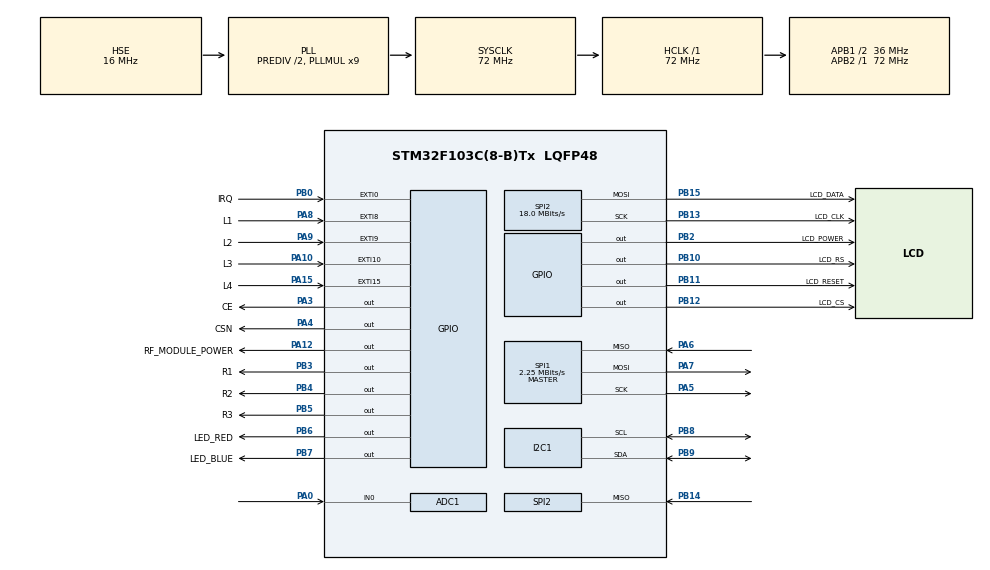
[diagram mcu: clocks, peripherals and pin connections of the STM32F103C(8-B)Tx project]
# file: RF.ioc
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ADC1.Channel-0\#ChannelRegularConversion=ADC_CHANNEL_0
ADC1.ContinuousConvMode=ENABLE
ADC1.ExternalTrigConv=ADC_SOFTWARE_START
ADC1.NbrOfConversionFlag=1
ADC1.Rank-0\#ChannelRegularConversion=1
ADC1.SamplingTime-0\#ChannelRegularConversion=ADC_SAMPLETIME_239CYCLES_5
ADC1.master=1
Mcu.Family=STM32F1
Mcu.Name=STM32F103C(8-B)Tx
Mcu.Package=LQFP48
NVIC.EXTI0_IRQn=true\:0\:0\:false\:false\:true
NVIC.EXTI15_10_IRQn=true\:1\:0\:true\:false\:true
NVIC.EXTI9_5_IRQn=true\:1\:0\:true\:false\:true
NVIC.PriorityGroup=NVIC_PRIORITYGROUP_4
NVIC.TIM1_UP_IRQn=true\:2\:0\:true\:false\:true
PA0-WKUP.Signal=ADCx_IN0
PA10.GPIO_Label=L3
PA10.GPIO_ModeDefaultEXTI=GPIO_MODE_IT_FALLING
PA10.GPIO_PuPd=GPIO_PULLUP
PA10.Signal=GPXTI10
PA12.GPIO_Label=RF_MODULE_POWER
PA12.Signal=GPIO_Output
PA13.Mode=Serial_Wire
PA13.Signal=SYS_JTMS-SWDIO
PA14.Mode=Serial_Wire
PA14.Signal=SYS_JTCK-SWCLK
PA15.GPIO_Label=L4
PA15.GPIO_ModeDefaultEXTI=GPIO_MODE_IT_FALLING
PA15.GPIO_PuPd=GPIO_PULLUP
PA15.Signal=GPXTI15
PA3.GPIO_Label=CE
PA3.Signal=GPIO_Output
PA4.GPIO_Label=CSN
PA4.Signal=GPIO_Output
PA5.Mode=Full_Duplex_Master
PA5.Signal=SPI1_SCK
PA6.Mode=Full_Duplex_Master
PA6.Signal=SPI1_MISO
PA7.Mode=Full_Duplex_Master
PA7.Signal=SPI1_MOSI
PA8.GPIO_Label=L1
PA8.GPIO_ModeDefaultEXTI=GPIO_MODE_IT_FALLING
PA8.GPIO_PuPd=GPIO_PULLUP
PA8.Signal=GPXTI8
PA9.GPIO_Label=L2
PA9.GPIO_ModeDefaultEXTI=GPIO_MODE_IT_FALLING
PA9.GPIO_PuPd=GPIO_PULLUP
PA9.Signal=GPXTI9
PB0.GPIO_Label=IRQ
PB0.GPIO_ModeDefaultEXTI=GPIO_MODE_IT_FALLING
PB0.GPIO_PuPd=GPIO_PULLUP
PB0.Signal=GPXTI0
PB10.GPIO_Label=LCD_RS
PB10.Signal=GPIO_Output
PB11.GPIO_Label=LCD_RESET
PB11.Signal=GPIO_Output
PB12.GPIO_Label=LCD_CS
PB12.Signal=GPIO_Output
PB13.GPIO_Label=LCD_CLK
PB13.Mode=Full_Duplex_Master
PB13.Signal=SPI2_SCK
PB14.Mode=Full_Duplex_Master
PB14.Signal=SPI2_MISO
PB15.GPIO_Label=LCD_DATA
PB15.Mode=Full_Duplex_Master
PB15.Signal=SPI2_MOSI
PB2.GPIO_Label=LCD_POWER
PB2.Signal=GPIO_Output
PB3.GPIO_Label=R1
PB3.GPIO_ModeDefaultOutputPP=GPIO_MODE_OUTPUT_OD
PB3.PinState=GPIO_PIN_RESET
PB3.Signal=GPIO_Output
PB4.GPIO_Label=R2
PB4.GPIO_ModeDefaultOutputPP=GPIO_MODE_OUTPUT_OD
PB4.Signal=GPIO_Output
PB5.GPIO_Label=R3
PB5.GPIO_ModeDefaultOutputPP=GPIO_MODE_OUTPUT_OD
PB5.Signal=GPIO_Output
PB6.GPIO_Label=LED_RED
PB6.Signal=GPIO_Output
PB7.GPIO_Label=LED_BLUE
PB7.Signal=GPIO_Output
PB8.Mode=I2C
PB8.Signal=I2C1_SCL
PB9.Mode=I2C
PB9.Signal=I2C1_SDA
PC14-OSC32_IN.Mode=LSE-External-Oscillator
PC14-OSC32_IN.Signal=RCC_OSC32_IN
PC15-OSC32_OUT.Mode=LSE-External-Oscillator
PC15-OSC32_OUT.Signal=RCC_OSC32_OUT
PD0-OSC_IN.Mode=HSE-External-Oscillator
PD0-OSC_IN.Signal=RCC_OSC_IN
PD1-OSC_OUT.Mode=HSE-External-Oscillator
PD1-OSC_OUT.Signal=RCC_OSC_OUT
ProjectManager.HeapSize=0x2000
ProjectManager.StackSize=0x4000
ProjectManager.TargetToolchain=MDK-ARM V5
RCC.ADCPresc=RCC_ADCPCLK2_DIV6
RCC.AHBFreq_Value=72000000
RCC.APB1CLKDivider=RCC_HCLK_DIV2
RCC.APB1Freq_Value=36000000
RCC.APB1TimFreq_Value=72000000
RCC.APB2Freq_Value=72000000
RCC.APB2TimFreq_Value=72000000
RCC.HCLKFreq_Value=72000000
RCC.HSEDivPLL=RCC_HSE_PREDIV_DIV2
RCC.HSE_Timout=100
RCC.HSE_VALUE=16000000
RCC.HSIState=RCC_HSI_ON
RCC.LSE_Timout=5000
RCC.PLLMUL=RCC_PLL_MUL9
RCC.PLLSourceVirtual=RCC_PLLSOURCE_HSE
RCC.RTCClockSelection=RCC_RTCCLKSOURCE_LSE
RCC.SYSCLKFreq_VALUE=72000000
RCC.SYSCLKSource=RCC_SYSCLKSOURCE_PLLCLK
RCC.USBFreq_Value=48000000
RCC.USBPrescaler=RCC_USBCLKSOURCE_PLL_DIV1_5
SH.ADCx_IN0.0=ADC1_IN0,IN0
SPI1.BaudRatePrescaler=SPI_BAUDRATEPRESCALER_32
SPI1.CalculateBaudRate=2.25 MBits/s
SPI1.Mode=SPI_MODE_MASTER
SPI2.BaudRatePrescaler=SPI_BAUDRATEPRESCALER_2
SPI2.CalculateBaudRate=18.0 MBits/s
SPI2.Mode=SPI_MODE_MASTER
TIM1.ClockDivision=TIM_CLOCKDIVISION_DIV1
TIM1.Period=4000
TIM1.Prescaler=17999
TIM1.TIM_MasterOutputTrigger=TIM_TRGO_UPDATE
VP_RTC_VS_RTC_Activate.Mode=RTC_Enabled
VP_TIM1_VS_ClockSourceINT.Mode=Internal
board=RF

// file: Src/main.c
/**
  ******************************************************************************
  * File Name          : main.c
  * Description        : Main program body
  ******************************************************************************
  *
  * COPYRIGHT(c) 2017 STMicroelectronics
  *
  * Redistribution and use in source and binary forms, with or without modification,
  * are permitted provided that the following conditions are met:
  *   1. Redistributions of source code must retain the above copyright notice,
  *      this list of conditions and the following disclaimer.
  *   2. Redistributions in binary form must reproduce the above copyright notice,
  *      this list of conditions and the following disclaimer in the documentation
  *      and/or other materials provided with the distribution.
  *   3. Neither the name of STMicroelectronics nor the names of its contributors
  *      may be used to endorse or promote products derived from this software
  *      without specific prior written permission.
  *
  * THIS SOFTWARE IS PROVIDED BY THE COPYRIGHT HOLDERS AND CONTRIBUTORS "AS IS"
  * AND ANY EXPRESS OR IMPLIED WARRANTIES, INCLUDING, BUT NOT LIMITED TO, THE
  * IMPLIED WARRANTIES OF MERCHANTABILITY AND FITNESS FOR A PARTICULAR PURPOSE ARE
  * DISCLAIMED. IN NO EVENT SHALL THE COPYRIGHT HOLDER OR CONTRIBUTORS BE LIABLE
  * FOR ANY DIRECT, INDIRECT, INCIDENTAL, SPECIAL, EXEMPLARY, OR CONSEQUENTIAL
  * DAMAGES (INCLUDING, BUT NOT LIMITED TO, PROCUREMENT OF SUBSTITUTE GOODS OR
  * SERVICES; LOSS OF USE, DATA, OR PROFITS; OR BUSINESS INTERRUPTION) HOWEVER
  * CAUSED AND ON ANY THEORY OF LIABILITY, WHETHER IN CONTRACT, STRICT LIABILITY,
  * OR TORT (INCLUDING NEGLIGENCE OR OTHERWISE) ARISING IN ANY WAY OUT OF THE USE
  * OF THIS SOFTWARE, EVEN IF ADVISED OF THE POSSIBILITY OF SUCH DAMAGE.
  *
  ******************************************************************************
  */
#include "main.h"
#include "stm32f1xx_hal.h"

/* USER CODE BEGIN Includes */
#include "stdlib.h"
#include "string.h"
#include "LPH91572.c"
#include "NRF24L01.c"
#include "Bat1.h"
#include "UWB.c"

/* USER CODE END Includes */

ADC_HandleTypeDef hadc1;

I2C_HandleTypeDef hi2c1;

RTC_HandleTypeDef hrtc;

SPI_HandleTypeDef hspi1;
SPI_HandleTypeDef hspi2;

TIM_HandleTypeDef htim1;

/* USER CODE BEGIN PV */
/* Private variables ---------------------------------------------------------*/
uint8_t data;
#define SysFreq 72
#define SYS_FCLK SysFreq
#define HEX2BCD(v)	((v) % 10 + (v) / 10 * 16)
#define BCD2HEX(v)	((v) % 16 + (v) / 16 * 10)
RTC_TimeTypeDef Time;

#define I2C1_DEVICE_ADDRESS 0x50
uint8_t eBuffer[1];

uint16_t InUmV=0;
#define InU_Koef 2.0*3.00*1.0206/4095.0
#define BatteryLevel_1 3000
#define BatteryLevel_2 3400
#define BatteryLevel_3 3700
#define BatteryLevel_4 3900

uint16_t FonColor = BLACK;
uint16_t TextColor = WHITE;

#define PowerDownTime 10
uint8_t PowerDownTimeCounter=0;
bool PowerDown=false;
bool PowerDownNow=false;

extern volatile bool NRF24L01_TX_RUN;
volatile bool RF_RX=false;
u8 RF_Buffer[32];
u8 RF_Buffer_Len=0;

char options[8][17]=
{"  Back           ",
 "  Devices        ",
 "  Find devices   ",
 "  Keypad         ",
 "  Settings       ",
 "                 ",
 "                 ",
 "                 "};

#define MenuCount 5
uint8_t SelectedMenuPos = 1;
#define MenuShiftY 25

volatile u8 PressedButton=0;

bool SecDotsShow=false;

struct DeviceChannelU8
{
	u8 Type;
	u8 CID;
	char *Name;
	u8 Min;
	u8 Max;
	u8 Value;
};
struct DeviceChannelU16
{
	u8 Type;
	u8 CID;
	char *Name;
	u16 Min;
	u16 Max;
	u16 Value;
};
struct DeviceChannelU32
{
	u8 Type;
	u8 CID;
	char *Name;
	u32 Min;
	u32 Max;
	u32 Value;
};
struct DeviceChannelF
{
	u8 Type;
	u8 CID;
	char *Name;
	float Min;
	float Max;
	float Value;
};
struct DeviceChannelStr
{
	u8 Type;
	u8 CID;
	char *Name;
	char *Value;
};
struct DeviceDesc
{
	int size;
	u32 ID;
	char *Name;
	char *DescStr;
	u8 ChannelCount;
	void **Channels;
};
#define DevicesMaxCount 15
struct DevicesStruct
{
	u8 Count;
	struct DeviceDesc *Device[DevicesMaxCount];
}Devices;

struct TempDevice
{
	u16 pos;
	u16 Size;
	u16 SizeNow;
	u32 ID;
	u8 *Buffer;
};
struct TempDevicesStruct
{
	u8 Count;
	struct TempDevice *Device[DevicesMaxCount];
}TempDevices;
union _U8ToU16
{
	u8 *Bytes;
	u16 Value;
}U8ToU16;
union _U8ToU32
{
	u8 *Bytes;
	u32 Value;
}U8ToU32;
union _U32ToU8
{
	u8 Bytes[4];
	u32 Value;
}U32ToU8;
union _U16ToU8
{
	u8 Bytes[2];
	u32 Value;
}U16ToU8;
union _U8ToF
{
	u8 *Bytes;
	float Value;
}U8ToF;

#define UWB_FirstMarker '$'
#define UWB_DataMarker 0x1
#define UWB_DataContinueMarker 0x2
#define UWB_ChannelMarker 0x3
#define UWB_SendToChannelMarker 0x4

#define UWB_Type_Digital 0
#define UWB_Type_PWM 1
#define UWB_Type_Analog 2
#define UWB_Type_Value 3
#define UWB_Type_OnlyRead 0x80
#define UWB_Type_8bit 0x00
#define UWB_Type_16bit 0x10
#define UWB_Type_32bit 0x20
#define UWB_Type_F 0x30
#define UWB_Type_Str 0x40
#define UWB_Type_DimMask 0x70
#define UWB_Type_Mask 0x0F

struct KeyStruct
{
	u32 DevID;
	u8 CID;
	u8 Key;
};
struct KeyStruct Keys[13];

char *msgs[5]={"Channel 0","Channel 1", "Channel 2","Channel 3", "string"};

uint8_t Addr[5]={0xAA,0xAA,0xAA,0xAA,0x00};
/* USER CODE END PV */

void SystemClock_Config(void);
void Error_Handler(void);
static void MX_GPIO_Init(void);
static void MX_SPI1_Init(void);
static void MX_ADC1_Init(void);
static void MX_I2C1_Init(void);
static void MX_RTC_Init(void);
static void MX_SPI2_Init(void);
static void MX_TIM1_Init(void);

/* USER CODE BEGIN PFP */
/* Private function prototypes -----------------------------------------------*/

void WriteTime(void);
void EEPROM_Read(uint16_t address,uint8_t *buffer,uint16_t size);
void EEPROM_Write(uint16_t address,uint8_t *buffer,uint16_t size);
void LcdWD(uint8_t  data);
uint8_t spi(uint8_t address);
void delay_us(uint16_t time_);
void soft_delay_ms(uint16_t ms);
uint16_t GetInUmV(void);
void WriteVoltage(void);
void Tick_1s(void);
void Power(void);
void PowerOff(void);
void PowerOn(void);
void InitAll(void);
void ShowSecDots(void);

struct TempDevice* GetTempDeviceByID(u32 ID);
void UnZipPackage(struct TempDevice* device);
void U8ToStr(u8 data,char *str);
void U16ToHEX(u16 data,char *str);
void U32ToHEX(u32 data,char *str);

void KeyPresed(uint8_t key);
int8_t GetKey(u32 dev_ID,u8 CID);
int8_t SetKey(u32 dev_ID,u8 CID,u8 key);
void WriteSetKeyMenu(u32 dev_ID,u8 ch_id,u16 t_color,u16 b_color);
struct DeviceDesc* GetDeviceByID(u32 ID);
/* USER CODE END PFP */

/* USER CODE BEGIN 0 */
void SendPacket(uint8_t *data,uint8_t size)
{
	send_data(data,size);
}
void LcdWD(uint8_t  data)
{
  //LCD_CS_0
	while ((SPI2->SR &SPI_SR_TXE ) == RESET){}
  SPI2->DR=data;
	//while((SPI2->SR &SPI_SR_BSY)>0);
	//HAL_SPI_Transmit(&hspi2,&data,1,100);
	//LCD_CS_1
}
uint8_t spi(uint8_t address)
{
	HAL_SPI_TransmitReceive(&hspi1, &address, &data, sizeof(data), 0x1000);
	return data;
}
void delay_us(uint16_t time_)
{
	uint32_t time;
	time=time_;
	time*=SYS_FCLK;
	time/=3;
  while(time--);
}
void soft_delay_ms(uint16_t ms)
{
	while(ms--) delay_us(1000);
}
uint16_t GetInUmV(void)
{
	InUmV=(uint16_t)(((float)(hadc1.Instance->DR))*InU_Koef*1000.0);
	return InUmV;
}
void WriteVoltage(void)
{
	int volt,volt2;
  unsigned char volt_string[5];

	volt=GetInUmV();
	delay_us(300);
	volt+=GetInUmV();
	delay_us(300);
	volt+=GetInUmV();
	volt/=3;
	volt2=volt;
/*	if(volt<bad_volt)
	{

	}*/
	volt_string[0]=volt/1000+'0';
	volt%=1000;
	volt_string[1]='.';
	volt_string[2]=volt/100+'0';
	volt%=100;
	volt_string[3]=volt/10+'0';
	volt_string[4]=volt%10+'0';
	LCD_Puts((char*)volt_string,4,10,100,RED,FonColor);
	LCD_Write_Image_RLE_ColorBar(Bat1,sizeof(Bat1),Bat1_ColorBar,0,19,0,11);
	if(volt2<BatteryLevel_4)
	{
		LCD_FillRect(14,3,3,6,FonColor);
	}
	if(volt2<BatteryLevel_3)
	{
		LCD_FillRect(10,3,3,6,FonColor);
	}
	if(volt2<BatteryLevel_2)
	{
		LCD_FillRect(6,3,3,6,FonColor);
	}
	if(volt2<BatteryLevel_1)
	{
		LCD_FillRect(2,3,3,6,FonColor);
	}

}
void Tick_1s(void)
{
	//PowerDownTimeCounter++;
	if(PowerDownTimeCounter>=PowerDownTime)
	{
		PowerOff();
	}
	SecDotsShow=!SecDotsShow;
}
void PowerOff(void)
{
	PowerDownTimeCounter=0;
	PowerDown=true;
}
void PowerOn(void)
{
	PowerDownTimeCounter=0;
	PowerDown=false;
}
void Power(void)
{
	GPIO_InitTypeDef GPIO_InitStruct;
	if(PowerDown!=PowerDownNow)
	{
		PowerDownNow=PowerDown;
		if(PowerDown)
		{
			//LCD_Puts("Power off",9,10,70,TextColor,FonColor);
			LCD_off();
			NRF24L01_PowerDown();
			HAL_ADC_Stop_IT(&hadc1);
			HAL_TIM_Base_Stop_IT(&htim1);
			//HAL_NVIC_DisableIRQ(EXTI0_IRQn);

			HAL_GPIO_WritePin(LCD_POWER_GPIO_Port,LCD_POWER_Pin,0);
			HAL_GPIO_WritePin(RF_MODULE_POWER_GPIO_Port,RF_MODULE_POWER_Pin,0);

  GPIO_InitStruct.Pin = GPIO_PIN_0|GPIO_PIN_1;
  GPIO_InitStruct.Mode = GPIO_MODE_ANALOG;
  HAL_GPIO_Init(GPIOD, &GPIO_InitStruct);

  GPIO_InitStruct.Pin = GPIO_PIN_1|GPIO_PIN_2|GPIO_PIN_11;
  GPIO_InitStruct.Mode = GPIO_MODE_ANALOG;
  HAL_GPIO_Init(GPIOA, &GPIO_InitStruct);

  GPIO_InitStruct.Pin = CE_Pin|CSN_Pin;
  GPIO_InitStruct.Mode = GPIO_MODE_ANALOG;
  HAL_GPIO_Init(GPIOA, &GPIO_InitStruct);

  //GPIO_InitStruct.Pin = IRQ_Pin;
 // GPIO_InitStruct.Mode = GPIO_MODE_ANALOG;
 // HAL_GPIO_Init(IRQ_GPIO_Port, &GPIO_InitStruct);

  GPIO_InitStruct.Pin = GPIO_PIN_1;
  GPIO_InitStruct.Mode = GPIO_MODE_ANALOG;
  HAL_GPIO_Init(GPIOB, &GPIO_InitStruct);

  GPIO_InitStruct.Pin = LCD_RS_Pin|LCD_RESET_Pin|LCD_CS_Pin
                          |LED_RED_Pin|LED_BLUE_Pin;
  GPIO_InitStruct.Mode = GPIO_MODE_ANALOG;
  HAL_GPIO_Init(GPIOB, &GPIO_InitStruct);

			//__HAL_RCC_HSI_DISABLE();

			HAL_PWR_EnterSTOPMode(PWR_MAINREGULATOR_ON,PWR_SLEEPENTRY_WFI);
			//HAL_PWR_EnterSTANDBYMode();

		Power();
		}
		else
		{
			InitAll();
			LCD_Puts("Power on ",9,10,70,TextColor,FonColor);
		}

	}

}

void WriteMenu(u16 t_color,u16 b_color)
{
	u16 pos=0;
	for(pos=0;pos<MenuCount;pos++)
	if (SelectedMenuPos==pos) LCD_Puts(options[pos],17,0,pos*16+MenuShiftY,b_color,t_color);
	 else LCD_Puts(options[pos],17,0,pos*16+MenuShiftY,t_color,b_color);

}
void WriteDevicesMenu(u8 dev_id,u16 t_color,u16 b_color)
{
	u8 pos=0,f_pos=0;
	u8 length=strlen(Devices.Device[pos]->Name);
	u8 c;
	u16 color1,color2;
	if(dev_id<8) pos=f_pos=0;
	else pos=f_pos=dev_id-7;
	for(;(pos<Devices.Count) && (pos < f_pos+8);pos++)
	{
		color1=color2=t_color;
	 if(pos==dev_id) color1=b_color;
	 else color2=b_color;

		    LCD_Putchar(('0'+pos/10),0,(pos%8)*16+MenuShiftY,color1,color2);
		    LCD_Putchar(('0'+pos%10),8,(pos%8)*16+MenuShiftY,color1,color2);
		    LCD_Putchar(' ',16,pos*16+MenuShiftY,color1,color2);
		    LCD_Puts(Devices.Device[pos]->Name,length,24,pos*16+MenuShiftY,color1,color2);
	      for(c=0;c<(17-length);c++)LCD_Putchar(' ',24+8*(length+c),pos*16+MenuShiftY,color1,color2);

	}
}
void WriteDeviceInfo(u8 dev_id,u16 t_color,u16 b_color)
{
	struct DeviceDesc *device=Devices.Device[dev_id];
	char *name=device->Name;
	char str[8];
	u8 length=strlen(name);
	u8 name_shift=(u8)((17-length)/2*8);
	if(length>17)length=17;

	LCD_Puts(name,length,name_shift,0,t_color,b_color);
	U8ToStr(device->ChannelCount,str);
	LCD_Puts("Channels: ",10,0,24,t_color,b_color);
	LCD_Puts(str,3,80,24,t_color,b_color);
	LCD_Puts("ID: ",4,0,40,t_color,b_color);
	U32ToHEX(device->ID,str);
	LCD_Puts(str,8,32,40,t_color,b_color);
	LCD_Puts("    Channels",12,0,56,t_color,b_color);

}
void WriteChannelsInfo(u8 dev_id,u8 ch_id,u16 t_color,u16 b_color)
{
	struct DeviceDesc *device=Devices.Device[dev_id];
	u8 ChCount=device->ChannelCount;
	u8 pos,x;
	u16 color1,color2;
	char str[3];
	if(ch_id<5) pos=0;
	else pos=ch_id-4;
	for(;pos<ChCount;pos++)
	{
		color1=color2=t_color;
		if(pos==ch_id)color1=b_color;
		else color2=b_color;
		U8ToStr(pos,str);
		str[0]=str[1];
		str[1]=str[2];
		x=0;
		LCD_Puts(str,2,x,72+(pos%5)*16,t_color,b_color);
		x+=24;
		if((((u8*)(device->Channels[pos]))[0] & UWB_Type_Mask)==UWB_Type_Digital)
		{
			LCD_Puts("Digital ",8,x,72+(pos%5)*16,color1,color2);
			x+=8*8;
		}
		else if((((u8*)(device->Channels[pos]))[0] & UWB_Type_Mask)==UWB_Type_Analog)
		{
			LCD_Puts("Analog ",7,x,72+(pos%5)*16,color1,color2);
			x+=8*7;
		}
		else if((((u8*)(device->Channels[pos]))[0] & UWB_Type_Mask)==UWB_Type_PWM)
		{
			LCD_Puts("PWM ",4,x,72+(pos%5)*16,color1,color2);
			x+=8*4;
		}
		else if((((u8*)(device->Channels[pos]))[0] & UWB_Type_Mask)==UWB_Type_Value)
		{
			LCD_Puts("Value ",6,x,72+(pos%5)*16,color1,color2);
			x+=8*6;
		}
		if((((u8*)(device->Channels[pos]))[0] & UWB_Type_DimMask) == UWB_Type_8bit)
		{
			LCD_Puts(" 8bit",5,x,72+(pos%5)*16,color1,color2);
			x+=8*5;
		}
		else if((((u8*)(device->Channels[pos]))[0] & UWB_Type_DimMask) == UWB_Type_16bit)
		{
			LCD_Puts("16bit",5,x,72+(pos%5)*16,color1,color2);
			x+=8*5;
		}
		else if((((u8*)(device->Channels[pos]))[0] & UWB_Type_DimMask) == UWB_Type_32bit)
		{
			LCD_Puts("32bit",5,x,72+(pos%5)*16,color1,color2);
			x+=8*5;
		}
		else if((((u8*)(device->Channels[pos]))[0] & UWB_Type_DimMask) == UWB_Type_F)
		{
			LCD_Puts("float",5,x,72+(pos%5)*16,color1,color2);
			x+=8*5;
		}
		else if((((u8*)(device->Channels[pos]))[0] & UWB_Type_DimMask) == UWB_Type_Str)
		{
			LCD_Puts(" str.",5,x,72+(pos%5)*16,color1,color2);
			x+=8*5;
		}
		while((x+8)<132)
		{
			LCD_Putchar(' ',x,72+(pos%5)*16,color1,color2);
			x+=8;
		}
	}
}
void WriteChannelInfo(u8 dev_id,u8 ch_id,u16 t_color,u16 b_color)
{
	struct DeviceDesc *device=Devices.Device[dev_id];
	struct DeviceChannelU8 *ch_u8;
	struct DeviceChannelU16 *ch_u16;
	struct DeviceChannelU32 *ch_u32;
	struct DeviceChannelF *ch_f;
	struct DeviceChannelStr *ch_str;
	u8 x=0,row=0;
	u8 l,pos=0;
	char str[8];
	int8_t key_id;
	PressedButton=0;
	LCD_FillScreen(b_color);

	ch_u8=device->Channels[ch_id];
	l=strlen(ch_u8->Name);
			while(l>0)
			{
				if(ch_u8->Name[pos]!='\n')
				{
					LCD_Putchar(ch_u8->Name[pos++],x,row*16,t_color,b_color);
					x+=8;
				 if(x>127)
			   {
					x=0;
					row++;
					if(row>2) break;
				 }
				}
				else
				{
					pos++;
					x=0;
					row++;
					if(row>2) break;
				}

				l--;
			}
	 x=0;
	if((((u8*)(device->Channels[ch_id]))[0] & UWB_Type_Mask)==UWB_Type_Digital)
		{
			LCD_Puts("Digital ",8,x,48,t_color,b_color);
			x+=8*8;
		}
		else if((((u8*)(device->Channels[ch_id]))[0] & UWB_Type_Mask)==UWB_Type_Analog)
		{
			LCD_Puts("Analog ",7,x,48,t_color,b_color);
			x+=8*7;
		}
		else if((((u8*)(device->Channels[ch_id]))[0] & UWB_Type_Mask)==UWB_Type_PWM)
		{
			LCD_Puts("PWM ",4,x,48,t_color,b_color);
			x+=8*4;
		}
		else if((((u8*)(device->Channels[ch_id]))[0] & UWB_Type_Mask)==UWB_Type_Value)
		{
			LCD_Puts("Value ",6,x,48,t_color,b_color);
			x+=8*6;
		}

		if(((u8*)(device->Channels[ch_id]))[0] & UWB_Type_OnlyRead )
		{
			LCD_Puts("ReadOnly: true",14,0,4*16,t_color,b_color);
		}
		else
		{
			LCD_Puts("ReadOnly: false",15,0,4*16,t_color,b_color);
		}

		if((((u8*)(device->Channels[ch_id]))[0] & UWB_Type_DimMask) == UWB_Type_8bit)
		{
			LCD_Puts(" 8bit",5,x,48,t_color,b_color);

			ch_u8=device->Channels[ch_id];
			LCD_Puts("Min:",4,0,5*16,t_color,b_color);
			U8ToStr(ch_u8->Min,str);
			LCD_Puts(str,3,32,5*16,t_color,b_color);
	    LCD_Puts("Max:",4,0,6*16,t_color,b_color);
			U8ToStr(ch_u8->Max,str);
			LCD_Puts(str,3,32,6*16,t_color,b_color);
	    LCD_Puts("Value:",6,0,7*16,t_color,b_color);
			U8ToStr(ch_u8->Value,str);
			LCD_Puts(str,3,48,7*16,t_color,b_color);

		}
		else if((((u8*)(device->Channels[ch_id]))[0] & UWB_Type_DimMask) == UWB_Type_16bit)
		{
			LCD_Puts("16bit",5,x,48,t_color,b_color);

			ch_u16=device->Channels[ch_id];
			LCD_Puts("Min:",4,0,5*16,t_color,b_color);
			U16ToHEX(ch_u16->Min,str);
			LCD_Puts(str,4,32,5*16,t_color,b_color);
			LCD_Puts("Max:",4,0,6*16,t_color,b_color);
			U16ToHEX(ch_u16->Max,str);
			LCD_Puts(str,4,32,6*16,t_color,b_color);
			LCD_Puts("Value:",6,0,7*16,t_color,b_color);
			U16ToHEX(ch_u16->Value,str);
			LCD_Puts(str,4,48,7*16,t_color,b_color);
		}
		else if((((u8*)(device->Channels[ch_id]))[0] & UWB_Type_DimMask) == UWB_Type_32bit)
		{
			LCD_Puts("32bit",5,x,48,t_color,b_color);

			ch_u32=device->Channels[ch_id];
			LCD_Puts("Min:",4,0,5*16,t_color,b_color);
			U32ToHEX(ch_u32->Min,str);
			LCD_Puts(str,8,40,5*16,t_color,b_color);
			LCD_Puts("Max:",4,0,6*16,t_color,b_color);
			U32ToHEX(ch_u32->Max,str);
			LCD_Puts(str,8,40,6*16,t_color,b_color);
			LCD_Puts("Value:",6,0,7*16,t_color,b_color);
			U32ToHEX(ch_u32->Value,str);
			LCD_Puts(str,8,48,7*16,t_color,b_color);
		}
		else if((((u8*)(device->Channels[ch_id]))[0] & UWB_Type_DimMask) == UWB_Type_F)
		{
			LCD_Puts("float",5,x,48,t_color,b_color);

			ch_f=device->Channels[ch_id];
			LCD_Puts("Min:",4,0,5*16,t_color,b_color);
			U32ToHEX(ch_f->Min,str);
			LCD_Puts(str,4,32,5*16,t_color,b_color);
			LCD_Puts("Max:",4,0,6*16,t_color,b_color);
			U32ToHEX(ch_f->Max,str);
			LCD_Puts(str,4,32,6*16,t_color,b_color);
			LCD_Puts("Value:",6,0,7*16,t_color,b_color);
			U32ToHEX((u32)ch_f->Value,str);
			LCD_Puts(str,8,48,7*16,t_color,b_color);
		}
		else if((((u8*)(device->Channels[ch_id]))[0] & UWB_Type_DimMask) == UWB_Type_Str)
		{
			LCD_Puts(" str.",5,x,48,t_color,b_color);

			ch_str=device->Channels[ch_id];
			LCD_Puts("Value:",6,0,5*16,t_color,b_color);
			x=8*6;
			row=5;
			pos=0;
			l=strlen(ch_str->Value);
			while(l>0)
			{
				LCD_Putchar(ch_str->Value[pos++],x,row*16,t_color,b_color);
				x+=8;
				if(x>127)
				{
					x=0;
					row++;
					if(row>9) break;
				}
				l--;
			}
		}
		LCD_DrawRect(153,85,20,44,1,t_color);
		LCD_Puts("NAME",4,92,156,t_color,b_color);
		if(!(((u8*)(device->Channels[ch_id]))[0] & UWB_Type_OnlyRead ))
		{
		LCD_Puts("Key:",4,0,8*16,t_color,b_color);
		key_id=GetKey(device->ID,((u8*)(device->Channels[ch_id]))[1]);
		if(key_id!=-1)
		{
			LCD_Putchar(Keys[key_id].Key,40,8*16,YELLOW,b_color);
		}
		else
		{
			LCD_Puts("no",2,40,8*16,RED,b_color);
		}

		LCD_DrawRect(153,2,20,44,1,t_color);
		LCD_Puts("KEY",3,12,156,t_color,b_color);

	  }
		else
		{
		LCD_DrawRect(153,2,20,44,1,t_color);
		LCD_Puts("DISP",4,8,156,t_color,b_color);
		}

}
void ChannelInfo(u8 dev_id,u8 ch_id,u16 t_color,u16 b_color)
{
	PressedButton=0;
	struct DeviceDesc *device=Devices.Device[dev_id];
	WriteChannelInfo(dev_id,ch_id,t_color,b_color);
	while(PressedButton!=10)
			{
				if(PressedButton==1)
				{
					if(!(((u8*)(device->Channels[ch_id]))[0] & UWB_Type_OnlyRead ))
					{
					WriteSetKeyMenu(device->ID,((u8*)(device->Channels[ch_id]))[1],t_color,b_color);
				  WriteChannelInfo(dev_id,ch_id,t_color,b_color);
					}
					else
					{

					}
				}
				else if(PressedButton==3)
				{

				}
				PressedButton=0;
				while(PressedButton==0);
			}
}
void WriteSetKeyMenu(u32 dev_ID,u8 CID,u16 t_color,u16 b_color)
{
	u8 x;
	PressedButton=0;
	LCD_FillScreen(b_color);
	LCD_DrawRect(62,5,50,122,1,t_color);
	LCD_Puts("Press a key",11,21,72,t_color,b_color);
	for(x=1;x<112;x++)
	{
		LCD_FillRect(10,98,x,4,t_color);
		delay_ms(30);
		if(PressedButton!=0)
		{
			//if(PressedButton==11) PressedButton=0;
			SetKey(dev_ID,CID,PressedButton);
			PressedButton=0;
			break;
		}
	}
}
void DeviceInfo(u8 dev_id,u16 t_color,u16 b_color)
{
	u8 ch_id=0;
	PressedButton=0;
	LCD_FillScreen(b_color);
		while(PressedButton!=10)
	{
		if(PressedButton==2)
		{
			if(ch_id>0)ch_id--;
			else ch_id=Devices.Device[dev_id]->ChannelCount-1;
		}
		else if(PressedButton==8)
		{
			if(ch_id<(Devices.Device[dev_id]->ChannelCount - 1)) ch_id++;
		  else ch_id=0;
		}
		else if(PressedButton==5)
		{
			ChannelInfo(dev_id,ch_id,t_color,b_color);

			LCD_FillScreen(b_color);
		}
		WriteDeviceInfo(dev_id,t_color,b_color);
		WriteChannelsInfo(dev_id,ch_id,t_color,b_color);
		PressedButton=0;
		while(PressedButton==0)
		{
			Power();
		}
	}
}
void DevicesMenu(u16 t_color,u16 b_color)
{
	PressedButton=0;
	LCD_FillScreen(b_color);
	u8 dev_id=0;
	u8 dev_id_max=Devices.Count;
	bool DeviceInfoShow=false;

	while(PressedButton!=10)
	{
		if(PressedButton==2)
		{
			if(dev_id>0)dev_id--;
			else dev_id=dev_id_max;
		}
		else if(PressedButton==8)
		{
			if(dev_id<dev_id_max) dev_id++;
			else dev_id=0;
		}
		else if(PressedButton==5)
		{
			DeviceInfo(dev_id,t_color,b_color);
			LCD_FillScreen(b_color);
		}
		WriteDevicesMenu(dev_id,t_color,b_color);
		PressedButton=0;
		while(PressedButton==0)
		{
			Power();
		}
	}
	PressedButton=0;
	LCD_FillScreen(b_color);
}
void WriteKeyPad(void)
{
	u8 key;
	u8 x,y;
	u16 button_color=GREEN;
	char str[3];
	LCD_FillScreen(BLACK);
	for(key=1;key<13;key++)
	{
		x=10+39*((key-1)%3);
		y=10+35*((key-1)/3);
		if(Keys[key].DevID!=0)button_color=RED;
		else button_color=GREEN;
		LCD_FillRect(x,y,34,25,button_color);
		if(key<10 || key == 11) LCD_Putchar(Keys[key].Key,x+13,y+4,WHITE,button_color);
		else if(key==10)
		{
			LCD_Puts("MENU",4,x+1,y+4,WHITE,button_color);
		}
		else if(key==12)
		{
			LCD_Puts("PWR",3,x+5,y+4,WHITE,button_color);
		}
	}
}
void* GetChannelDesc(struct DeviceDesc *device,u8 CID)
{
	void* ch_desc;
	u8 ch_id;
	for(ch_id=0;ch_id<device->ChannelCount;ch_id++)
	{
		if(((struct DeviceChannelU8*)device->Channels[ch_id])->CID==CID)
		{
			return device->Channels[ch_id];
		}
	}
	return NULL;
}
void KeyPadMenu(u16 t_color,u16 b_color)
{
	u8 l;
	struct DeviceDesc *device;
	void *ch_desc;
	WriteKeyPad();
	PressedButton=0;
	while(PressedButton!=10)
		{
			PressedButton=0;
			while(PressedButton==0)Power();
			if(Keys[PressedButton].DevID!=0)
			{
			device=GetDeviceByID(Keys[PressedButton].DevID);
			l=strlen(device->Name);
			if(l>16) l=16;
			LCD_Puts(device->Name,l,0,142,t_color,b_color);
			ch_desc=GetChannelDesc(device,Keys[PressedButton].CID);
				l=strlen(((struct DeviceChannelU8*)ch_desc)->Name);
				if(l>16)l=16;
			  LCD_Puts(((struct DeviceChannelU8*)ch_desc)->Name,l,0,158,t_color,b_color);
			}
		}
	PressedButton=0;
	LCD_FillScreen(b_color);
}

void FindDevicesMenu(u16 t_color,u16 b_color)
{
	LCD_FillScreen(b_color);

	SendCmd(UWP_Cmd_DeviceName);
	while(NRF24L01_TX_RUN);
	rx_mode();
  while(!RF_RX)
	{
		HAL_Delay(2000);
	}
	tx_mode();
}
void Menu(u16 t_color,u16 b_color)
{
	PressedButton=0;
   LCD_FillScreen(b_color);
	while(!(SelectedMenuPos==0 && PressedButton==5))
	{

		if(PressedButton==2)
		{
			if(SelectedMenuPos>0)SelectedMenuPos--;
		  else SelectedMenuPos=MenuCount-1;
		}
    else if(PressedButton==8)
		{
      if(SelectedMenuPos<(MenuCount-1))SelectedMenuPos++;
			else SelectedMenuPos=0;
		}
		else if(PressedButton==5)
		 {
			switch (SelectedMenuPos)
			                                                                                                                                                                            {
				case 1:
					DevicesMenu(t_color,b_color);
					break;
				case 2:
					FindDevicesMenu(t_color,b_color);
					break;
				case 3:
					KeyPadMenu(t_color,b_color);
					break;
				case 4:
					break;
				case 5:
				  break;
				default:
					break;
			}
		}

		WriteMenu(t_color,b_color);

		PressedButton=0;
		while(PressedButton==0)
		{
			Power();
		}

	}
	PressedButton=0;
	LCD_FillScreen(b_color);
}
void InitAll(void)
{
	 HAL_Init();
   SystemClock_Config();

	 MX_GPIO_Init();
  MX_SPI1_Init();
  MX_ADC1_Init();
  MX_I2C1_Init();
  MX_RTC_Init();
  MX_SPI2_Init();
  MX_TIM1_Init();

	__HAL_SPI_ENABLE(&hspi2);
	 HAL_ADC_Start(&hadc1);
	 HAL_TIM_Base_Start_IT(&htim1);

	 //MX_GPIO_Init();
	 HAL_GPIO_WritePin(LCD_POWER_GPIO_Port,LCD_POWER_Pin,GPIO_PIN_SET);
	 HAL_GPIO_WritePin(RF_MODULE_POWER_GPIO_Port,RF_MODULE_POWER_Pin,GPIO_PIN_SET);
	 soft_delay_ms(10);
	 LCD_init();
	 LCD_FillScreen(FonColor);
   NRF24L01_init();
	 SetRxAddr(Addr);
	 Addr[4]=0xF0;
	 SetTxAddr(Addr);
}
/* USER CODE END 0 */

int main(void)
{

  /* USER CODE BEGIN 1 */
   u8 key;
  /* USER CODE END 1 */

  /* MCU Configuration----------------------------------------------------------*/

  /* Reset of all peripherals, Initializes the Flash interface and the Systick. */
 // HAL_Init();

  /* Configure the system clock */
 // SystemClock_Config();

  /* Initialize all configured peripherals */
 /* MX_GPIO_Init();
  MX_SPI1_Init();
  MX_ADC1_Init();
  MX_I2C1_Init();
  MX_RTC_Init();
  MX_SPI2_Init();
  MX_TIM1_Init();*/

  /* USER CODE BEGIN 2 */
/*	 __HAL_SPI_ENABLE(&hspi2);
	 HAL_ADC_Start(&hadc1);
	 HAL_TIM_Base_Start_IT(&htim1);*/

	// HAL_Delay(500);
   InitAll();

	 for(key=1;key<10;key++) Keys[key].Key='0'+key;
	 Keys[11].Key='0';

   Devices.Count=1;
	 Devices.Device[0]=malloc(sizeof(struct DeviceDesc));

	 Devices.Device[0]->Name="Test";
	 Devices.Device[0]->ChannelCount=4;
	 Devices.Device[0]->DescStr=" ";
	 Devices.Device[0]->ID=0xA0B1C2D3;
	 Devices.Device[0]->Channels=(void*) malloc(sizeof(void*)*4);
	 Devices.Device[0]->Channels[0]=malloc (sizeof(struct DeviceChannelU8));
	 Devices.Device[0]->Channels[1]=malloc (sizeof(struct DeviceChannelU32));
	 Devices.Device[0]->Channels[2]=malloc (sizeof(struct DeviceChannelF));
   Devices.Device[0]->Channels[3]=malloc (sizeof(struct DeviceChannelStr));
	  //((struct DeviceChannelStr*)Devices.Device[0]->Channels[3])->Value=msgs[4];
		//((struct DeviceChannelU8*)Devices.Device[0]->Channels[0])->Name=msgs[0];
	/*  ((struct DeviceChannelU8*)Devices.Device[0]->Channels[1])->Name=msgs[1];
	  ((struct DeviceChannelU8*)Devices.Device[0]->Channels[2])->Name=msgs[2];
		((struct DeviceChannelU8*)Devices.Device[0]->Channels[3])->Name=msgs[3];*/

	 ((struct DeviceChannelU8*)Devices.Device[0]->Channels[0])->CID=1;
	 ((struct DeviceChannelU8*)Devices.Device[0]->Channels[0])->Name=malloc(8);
	 ((struct DeviceChannelU8*)Devices.Device[0]->Channels[0])->Name[0]='c';
	 ((struct DeviceChannelU8*)Devices.Device[0]->Channels[0])->Name[1]='h';
	 ((struct DeviceChannelU8*)Devices.Device[0]->Channels[0])->Name[2]='a';
	 ((struct DeviceChannelU8*)Devices.Device[0]->Channels[0])->Name[3]='n';
	 ((struct DeviceChannelU8*)Devices.Device[0]->Channels[0])->Name[4]='n';
	 ((struct DeviceChannelU8*)Devices.Device[0]->Channels[0])->Name[5]='e';
	 ((struct DeviceChannelU8*)Devices.Device[0]->Channels[0])->Name[6]='l';
	 ((struct DeviceChannelU8*)Devices.Device[0]->Channels[0])->Name[7]='0';

	 ((struct DeviceChannelU8*)Devices.Device[0]->Channels[0])->Type=UWB_Type_8bit | UWB_Type_Analog;
	 ((struct DeviceChannelU8*)Devices.Device[0]->Channels[1])->Type=UWB_Type_32bit | UWB_Type_Digital;
	 ((struct DeviceChannelU8*)Devices.Device[0]->Channels[2])->Type=UWB_Type_F | UWB_Type_Analog;
	 ((struct DeviceChannelU8*)Devices.Device[0]->Channels[3])->Type=UWB_Type_Str | UWB_Type_OnlyRead | UWB_Type_Value ;

	 ((struct DeviceChannelU8*)Devices.Device[0]->Channels[0])->Max=100;
	 ((struct DeviceChannelU8*)Devices.Device[0]->Channels[0])->Min=1;
	 ((struct DeviceChannelU8*)Devices.Device[0]->Channels[0])->Value=50;

	 ((struct DeviceChannelU32*)Devices.Device[0]->Channels[1])->Max=0xAABBCCDD;
	 ((struct DeviceChannelU32*)Devices.Device[0]->Channels[1])->Min=0;
	 ((struct DeviceChannelU32*)Devices.Device[0]->Channels[1])->Value=0xff;

	 //((struct DeviceChannelU8*)Devices.Device[0]->Channels[0])
   key=0;
  /* USER CODE END 2 */

  /* Infinite loop */
  while (1)
  {

  /* USER CODE BEGIN 3 */

	//eBuffer[0]='A';

	// EEPROM_Write(0x00,eBuffer,1);
	//HAL_Delay(100);
//	eBuffer[0]='B';
	// EEPROM_Read(0x00,eBuffer,1);

	// LCD_Putchar(eBuffer[0],10,10,RED,BLACK);

	 HAL_Delay(100);
	 WriteTime();
	 WriteVoltage();
	 Power();
		if(PressedButton==10)
		{
			Menu(WHITE,BLACK);
		}
		if(PressedButton!=0 && key==0)
		{
			KeyPresed(PressedButton);
			key=PressedButton;
		}
		else key=PressedButton;
		PressedButton=0;
  }
  /* USER CODE END 3 */

}

/** System Clock Configuration
*/
void SystemClock_Config(void)
{

  RCC_OscInitTypeDef RCC_OscInitStruct;
  RCC_ClkInitTypeDef RCC_ClkInitStruct;
  RCC_PeriphCLKInitTypeDef PeriphClkInit;

    /**Initializes the CPU, AHB and APB busses clocks
    */
  RCC_OscInitStruct.OscillatorType = RCC_OSCILLATORTYPE_HSE|RCC_OSCILLATORTYPE_LSE;
  RCC_OscInitStruct.HSEState = RCC_HSE_ON;
  RCC_OscInitStruct.HSEPredivValue = RCC_HSE_PREDIV_DIV2;
  RCC_OscInitStruct.LSEState = RCC_LSE_ON;
  RCC_OscInitStruct.HSIState = RCC_HSI_ON;
  RCC_OscInitStruct.PLL.PLLState = RCC_PLL_ON;
  RCC_OscInitStruct.PLL.PLLSource = RCC_PLLSOURCE_HSE;
  RCC_OscInitStruct.PLL.PLLMUL = RCC_PLL_MUL9;
  if (HAL_RCC_OscConfig(&RCC_OscInitStruct) != HAL_OK)
  {
    Error_Handler();
  }

    /**Initializes the CPU, AHB and APB busses clocks
    */
  RCC_ClkInitStruct.ClockType = RCC_CLOCKTYPE_HCLK|RCC_CLOCKTYPE_SYSCLK
                              |RCC_CLOCKTYPE_PCLK1|RCC_CLOCKTYPE_PCLK2;
  RCC_ClkInitStruct.SYSCLKSource = RCC_SYSCLKSOURCE_PLLCLK;
  RCC_ClkInitStruct.AHBCLKDivider = RCC_SYSCLK_DIV1;
  RCC_ClkInitStruct.APB1CLKDivider = RCC_HCLK_DIV2;
  RCC_ClkInitStruct.APB2CLKDivider = RCC_HCLK_DIV1;

  if (HAL_RCC_ClockConfig(&RCC_ClkInitStruct, FLASH_LATENCY_2) != HAL_OK)
  {
    Error_Handler();
  }

  PeriphClkInit.PeriphClockSelection = RCC_PERIPHCLK_RTC|RCC_PERIPHCLK_ADC;
  PeriphClkInit.RTCClockSelection = RCC_RTCCLKSOURCE_LSE;
  PeriphClkInit.AdcClockSelection = RCC_ADCPCLK2_DIV6;
  if (HAL_RCCEx_PeriphCLKConfig(&PeriphClkInit) != HAL_OK)
  {
    Error_Handler();
  }

    /**Configure the Systick interrupt time
    */
  HAL_SYSTICK_Config(HAL_RCC_GetHCLKFreq()/1000);

    /**Configure the Systick
    */
  HAL_SYSTICK_CLKSourceConfig(SYSTICK_CLKSOURCE_HCLK);

  /* SysTick_IRQn interrupt configuration */
  HAL_NVIC_SetPriority(SysTick_IRQn, 0, 0);
}

/* ADC1 init function */
static void MX_ADC1_Init(void)
{

  ADC_ChannelConfTypeDef sConfig;

    /**Common config
    */
  hadc1.Instance = ADC1;
  hadc1.Init.ScanConvMode = ADC_SCAN_DISABLE;
  hadc1.Init.ContinuousConvMode = ENABLE;
  hadc1.Init.DiscontinuousConvMode = DISABLE;
  hadc1.Init.ExternalTrigConv = ADC_SOFTWARE_START;
  hadc1.Init.DataAlign = ADC_DATAALIGN_RIGHT;
  hadc1.Init.NbrOfConversion = 1;
  if (HAL_ADC_Init(&hadc1) != HAL_OK)
  {
    Error_Handler();
  }

    /**Configure Regular Channel
    */
  sConfig.Channel = ADC_CHANNEL_0;
  sConfig.Rank = 1;
  sConfig.SamplingTime = ADC_SAMPLETIME_239CYCLES_5;
  if (HAL_ADC_ConfigChannel(&hadc1, &sConfig) != HAL_OK)
  {
    Error_Handler();
  }

}

/* I2C1 init function */
static void MX_I2C1_Init(void)
{

  hi2c1.Instance = I2C1;
  hi2c1.Init.ClockSpeed = 100000;
  hi2c1.Init.DutyCycle = I2C_DUTYCYCLE_2;
  hi2c1.Init.OwnAddress1 = 0;
  hi2c1.Init.AddressingMode = I2C_ADDRESSINGMODE_7BIT;
  hi2c1.Init.DualAddressMode = I2C_DUALADDRESS_DISABLE;
  hi2c1.Init.OwnAddress2 = 0;
  hi2c1.Init.GeneralCallMode = I2C_GENERALCALL_DISABLE;
  hi2c1.Init.NoStretchMode = I2C_NOSTRETCH_DISABLE;
  if (HAL_I2C_Init(&hi2c1) != HAL_OK)
  {
    Error_Handler();
  }

}

/* RTC init function */
static void MX_RTC_Init(void)
{

    /**Initialize RTC Only
    */
  hrtc.Instance = RTC;
  hrtc.Init.AsynchPrediv = RTC_AUTO_1_SECOND;
  hrtc.Init.OutPut = RTC_OUTPUTSOURCE_ALARM;
  if (HAL_RTC_Init(&hrtc) != HAL_OK)
  {
    Error_Handler();
  }

}

/* SPI1 init function */
static void MX_SPI1_Init(void)
{

  hspi1.Instance = SPI1;
  hspi1.Init.Mode = SPI_MODE_MASTER;
  hspi1.Init.Direction = SPI_DIRECTION_2LINES;
  hspi1.Init.DataSize = SPI_DATASIZE_8BIT;
  hspi1.Init.CLKPolarity = SPI_POLARITY_LOW;
  hspi1.Init.CLKPhase = SPI_PHASE_1EDGE;
  hspi1.Init.NSS = SPI_NSS_SOFT;
  hspi1.Init.BaudRatePrescaler = SPI_BAUDRATEPRESCALER_32;
  hspi1.Init.FirstBit = SPI_FIRSTBIT_MSB;
  hspi1.Init.TIMode = SPI_TIMODE_DISABLE;
  hspi1.Init.CRCCalculation = SPI_CRCCALCULATION_DISABLE;
  hspi1.Init.CRCPolynomial = 10;
  if (HAL_SPI_Init(&hspi1) != HAL_OK)
  {
    Error_Handler();
  }

}

/* SPI2 init function */
static void MX_SPI2_Init(void)
{

  hspi2.Instance = SPI2;
  hspi2.Init.Mode = SPI_MODE_MASTER;
  hspi2.Init.Direction = SPI_DIRECTION_2LINES;
  hspi2.Init.DataSize = SPI_DATASIZE_8BIT;
  hspi2.Init.CLKPolarity = SPI_POLARITY_LOW;
  hspi2.Init.CLKPhase = SPI_PHASE_1EDGE;
  hspi2.Init.NSS = SPI_NSS_SOFT;
  hspi2.Init.BaudRatePrescaler = SPI_BAUDRATEPRESCALER_2;
  hspi2.Init.FirstBit = SPI_FIRSTBIT_MSB;
  hspi2.Init.TIMode = SPI_TIMODE_DISABLE;
  hspi2.Init.CRCCalculation = SPI_CRCCALCULATION_DISABLE;
  hspi2.Init.CRCPolynomial = 10;
  if (HAL_SPI_Init(&hspi2) != HAL_OK)
  {
    Error_Handler();
  }

}

/* TIM1 init function */
static void MX_TIM1_Init(void)
{

  TIM_ClockConfigTypeDef sClockSourceConfig;
  TIM_MasterConfigTypeDef sMasterConfig;

  htim1.Instance = TIM1;
  htim1.Init.Prescaler = 17999;
  htim1.Init.CounterMode = TIM_COUNTERMODE_UP;
  htim1.Init.Period = 4000;
  htim1.Init.ClockDivision = TIM_CLOCKDIVISION_DIV1;
  htim1.Init.RepetitionCounter = 0;
  if (HAL_TIM_Base_Init(&htim1) != HAL_OK)
  {
    Error_Handler();
  }

  sClockSourceConfig.ClockSource = TIM_CLOCKSOURCE_INTERNAL;
  if (HAL_TIM_ConfigClockSource(&htim1, &sClockSourceConfig) != HAL_OK)
  {
    Error_Handler();
  }

  sMasterConfig.MasterOutputTrigger = TIM_TRGO_UPDATE;
  sMasterConfig.MasterSlaveMode = TIM_MASTERSLAVEMODE_DISABLE;
  if (HAL_TIMEx_MasterConfigSynchronization(&htim1, &sMasterConfig) != HAL_OK)
  {
    Error_Handler();
  }

}

/** Configure pins as
        * Analog
        * Input
        * Output
        * EVENT_OUT
        * EXTI
        * Free pins are configured automatically as Analog (this feature is enabled through
        * the Code Generation settings)
*/
static void MX_GPIO_Init(void)
{

  GPIO_InitTypeDef GPIO_InitStruct;

  /* GPIO Ports Clock Enable */
  __HAL_RCC_GPIOC_CLK_ENABLE();
  __HAL_RCC_GPIOD_CLK_ENABLE();
  __HAL_RCC_GPIOA_CLK_ENABLE();
  __HAL_RCC_GPIOB_CLK_ENABLE();

  /*Configure GPIO pin Output Level */
  HAL_GPIO_WritePin(GPIOA, CE_Pin|CSN_Pin|RF_MODULE_POWER_Pin, GPIO_PIN_RESET);

  /*Configure GPIO pin Output Level */
  HAL_GPIO_WritePin(GPIOB, LCD_POWER_Pin|LCD_RS_Pin|LCD_RESET_Pin|LCD_CS_Pin
                          |R1_Pin|R2_Pin|R3_Pin|LED_RED_Pin
                          |LED_BLUE_Pin, GPIO_PIN_RESET);

  /*Configure GPIO pin : PC13 */
  GPIO_InitStruct.Pin = GPIO_PIN_13;
  GPIO_InitStruct.Mode = GPIO_MODE_ANALOG;
  HAL_GPIO_Init(GPIOC, &GPIO_InitStruct);

  /*Configure GPIO pins : PA1 PA2 PA11 */
  GPIO_InitStruct.Pin = GPIO_PIN_1|GPIO_PIN_2|GPIO_PIN_11;
  GPIO_InitStruct.Mode = GPIO_MODE_ANALOG;
  HAL_GPIO_Init(GPIOA, &GPIO_InitStruct);

  /*Configure GPIO pins : CE_Pin CSN_Pin RF_MODULE_POWER_Pin */
  GPIO_InitStruct.Pin = CE_Pin|CSN_Pin|RF_MODULE_POWER_Pin;
  GPIO_InitStruct.Mode = GPIO_MODE_OUTPUT_PP;
  GPIO_InitStruct.Speed = GPIO_SPEED_FREQ_LOW;
  HAL_GPIO_Init(GPIOA, &GPIO_InitStruct);

  /*Configure GPIO pin : IRQ_Pin */
  GPIO_InitStruct.Pin = IRQ_Pin;
  GPIO_InitStruct.Mode = GPIO_MODE_IT_FALLING;
  GPIO_InitStruct.Pull = GPIO_PULLUP;
  HAL_GPIO_Init(IRQ_GPIO_Port, &GPIO_InitStruct);

  /*Configure GPIO pin : PB1 */
  GPIO_InitStruct.Pin = GPIO_PIN_1;
  GPIO_InitStruct.Mode = GPIO_MODE_ANALOG;
  HAL_GPIO_Init(GPIOB, &GPIO_InitStruct);

  /*Configure GPIO pins : LCD_POWER_Pin LCD_RS_Pin LCD_RESET_Pin LCD_CS_Pin
                           LED_RED_Pin LED_BLUE_Pin */
  GPIO_InitStruct.Pin = LCD_POWER_Pin|LCD_RS_Pin|LCD_RESET_Pin|LCD_CS_Pin
                          |LED_RED_Pin|LED_BLUE_Pin;
  GPIO_InitStruct.Mode = GPIO_MODE_OUTPUT_PP;
  GPIO_InitStruct.Speed = GPIO_SPEED_FREQ_LOW;
  HAL_GPIO_Init(GPIOB, &GPIO_InitStruct);

  /*Configure GPIO pins : L1_Pin L2_Pin L3_Pin L4_Pin */
  GPIO_InitStruct.Pin = L1_Pin|L2_Pin|L3_Pin|L4_Pin;
  GPIO_InitStruct.Mode = GPIO_MODE_IT_FALLING;
  GPIO_InitStruct.Pull = GPIO_PULLUP;
  HAL_GPIO_Init(GPIOA, &GPIO_InitStruct);

  /*Configure GPIO pins : R1_Pin R2_Pin R3_Pin */
  GPIO_InitStruct.Pin = R1_Pin|R2_Pin|R3_Pin;
  GPIO_InitStruct.Mode = GPIO_MODE_OUTPUT_OD;
  GPIO_InitStruct.Speed = GPIO_SPEED_FREQ_LOW;
  HAL_GPIO_Init(GPIOB, &GPIO_InitStruct);

  /* EXTI interrupt init*/
  HAL_NVIC_SetPriority(EXTI0_IRQn, 0, 0);
  HAL_NVIC_EnableIRQ(EXTI0_IRQn);

  HAL_NVIC_SetPriority(EXTI9_5_IRQn, 1, 0);
  HAL_NVIC_EnableIRQ(EXTI9_5_IRQn);

  HAL_NVIC_SetPriority(EXTI15_10_IRQn, 1, 0);
  HAL_NVIC_EnableIRQ(EXTI15_10_IRQn);

}

/* USER CODE BEGIN 4 */
void KeyPresed(uint8_t key)
{
	uint8_t msg[3];
	msg[0]=('0'+(char)(key/10));
	msg[1]=('0'+(char)(key%10));
	//msg[2]=',';
	send_data(msg,2);
}
uint8_t KeyPadRead(void)
{
	uint8_t key=0;
	PowerDownTimeCounter=0;
	if(PowerDown)
	{
		PowerOn();
	}
	HAL_GPIO_WritePin(R1_GPIO_Port,R1_Pin,GPIO_PIN_RESET);
	HAL_GPIO_WritePin(R2_GPIO_Port,R2_Pin,GPIO_PIN_SET);
	HAL_GPIO_WritePin(R3_GPIO_Port,R3_Pin,GPIO_PIN_SET);
	delay_us(10);
	if(HAL_GPIO_ReadPin(L1_GPIO_Port,L1_Pin)==0) key=1;
	if(HAL_GPIO_ReadPin(L2_GPIO_Port,L2_Pin)==0) key=4;
	if(HAL_GPIO_ReadPin(L2_GPIO_Port,L3_Pin)==0) key=7;
	if(HAL_GPIO_ReadPin(L4_GPIO_Port,L4_Pin)==0) key=10;
	HAL_GPIO_WritePin(R1_GPIO_Port,R1_Pin,GPIO_PIN_SET);
	HAL_GPIO_WritePin(R2_GPIO_Port,R2_Pin,GPIO_PIN_RESET);
	HAL_GPIO_WritePin(R3_GPIO_Port,R3_Pin,GPIO_PIN_SET);
	delay_us(10);
	if(HAL_GPIO_ReadPin(L1_GPIO_Port,L1_Pin)==0) key=2;
	if(HAL_GPIO_ReadPin(L2_GPIO_Port,L2_Pin)==0) key=5;
	if(HAL_GPIO_ReadPin(L2_GPIO_Port,L3_Pin)==0) key=8;
	if(HAL_GPIO_ReadPin(L4_GPIO_Port,L4_Pin)==0) key=11;
	HAL_GPIO_WritePin(R1_GPIO_Port,R1_Pin,GPIO_PIN_SET);
	HAL_GPIO_WritePin(R2_GPIO_Port,R2_Pin,GPIO_PIN_SET);
	HAL_GPIO_WritePin(R3_GPIO_Port,R3_Pin,GPIO_PIN_RESET);
	delay_us(10);
	if(HAL_GPIO_ReadPin(L1_GPIO_Port,L1_Pin)==0) key=3;
	if(HAL_GPIO_ReadPin(L2_GPIO_Port,L2_Pin)==0) key=6;
	if(HAL_GPIO_ReadPin(L2_GPIO_Port,L3_Pin)==0) key=9;
	if(HAL_GPIO_ReadPin(L4_GPIO_Port,L4_Pin)==0) key=12;
	HAL_GPIO_WritePin(R1_GPIO_Port,R1_Pin,GPIO_PIN_RESET);
	HAL_GPIO_WritePin(R2_GPIO_Port,R2_Pin,GPIO_PIN_RESET);
	HAL_GPIO_WritePin(R3_GPIO_Port,R3_Pin,GPIO_PIN_RESET);
	delay_us(10);
	if(key!=0)
	{
	//LCD_Putchar(('0'+(char)(key/10)),0,0,RED,GREEN);
	//LCD_Putchar(('0'+(char)(key%10)),8,0,RED,GREEN);
		//KeyPresed(key);
		soft_delay_ms(10);
		PressedButton=key;
	}
	return key;
}

void NRF24L01_IRQ(void)
{
	state=read_irq();
	if(state&0x40)
	{
		RF_Buffer_Len=read_rx(RF_Buffer);
		RF_RX=true;
	}
	if(state&0x10)
	{
		NRF24L01_TX_RUN=false;
		csn_0
    spi(FLUSH_TX);
    csn_1
	}
	if(state & 0x1)
	{
		csn_0
		spi(FLUSH_TX);
		csn_1
	}
	if(state & 0x20)
	{
		NRF24L01_TX_RUN=false;
	}
  clr_irq();
}
void ReadTime(unsigned char *time)
{
	HAL_RTC_GetTime(&hrtc,&Time,RTC_FORMAT_BCD);
	time[0]=BCD2HEX(Time.Hours);
	time[1]=BCD2HEX(Time.Minutes);
}
void WriteTime(void)
{ unsigned char time[2];
  unsigned char time_string[5];

	  ReadTime(time);
		time_string[0]='0'+((time[0]/10) %10);
	  time_string[1]='0'+(time[0] %10);
	  time_string[2]=':';
		time_string[3]='0'+((time[1]/10) %10);
	  time_string[4]='0'+(time[1] %10);

	  LCD_Put24(time_string[0],3+0,20,WHITE,BLACK);
	  LCD_Put24(time_string[1],6+24,20,WHITE,BLACK);

	  LCD_Put24(time_string[3],6+72,20,WHITE,BLACK);
	  LCD_Put24(time_string[4],9+96,20,WHITE,BLACK);

	  ShowSecDots();
}
void ShowSecDots(void)
{
	if(SecDotsShow)
	{
		LCD_Put24(':',6+48,20,WHITE,BLACK);
	}
	else
	{
		LCD_Put24(' ',6+48,20,WHITE,BLACK);
	}

}
void EEPROM_Read(uint16_t address,uint8_t *buffer,uint16_t size)
{
	HAL_I2C_Mem_Read (&hi2c1, (uint16_t) I2C1_DEVICE_ADDRESS << 1, address, 1, buffer, size, 10);
}
void EEPROM_Write(uint16_t address,uint8_t *buffer,uint16_t size)
{
	HAL_I2C_Mem_Write(&hi2c1, (uint16_t) I2C1_DEVICE_ADDRESS << 1, address, 1, buffer, size, 10);
}
void RackageProcc(u8 *buf,u8 size)
{
	u16 Size;
	u8 pos;
	u32 ID;
	struct TempDevice *device;
	if(size<6)return;
	if(buf[0]==UWB_FirstMarker)
	{
		if(buf[1]==UWB_DataMarker)
		{
			if(size>8)
			{
			U8ToU16.Bytes=&buf[2];
			Size=U8ToU16.Value;

			U8ToU32.Bytes=&buf[4];
			ID=U8ToU32.Value;

				device=GetTempDeviceByID(ID);
				device->pos=0;
				device->ID=ID;
				device->Size=Size;
				for(pos=8;pos<size;pos++)
				{
					device->Buffer[device->pos++]=buf[pos];
				}
				device->SizeNow=size;
			}
		}
		else if(buf[1]==UWB_DataContinueMarker)
		{
			U8ToU32.Bytes=&buf[2];
			ID=U8ToU32.Value;
			device=GetTempDeviceByID(ID);
			if(device->ID!=ID) return;
			for(pos=6;pos<size;pos++)
				{
					device->Buffer[device->pos++]=buf[pos];
				}
				device->SizeNow+=size;
		}
		if(device->Size==device->SizeNow)
		{
			UnZipPackage(device);
		}
	}
}

struct TempDevice* GetTempDeviceByID(u32 ID)
{
	u8 index;
	for(index=0;index<TempDevices.Count;index++)
	{
		if(TempDevices.Device[index]->ID==ID)
		{
			return TempDevices.Device[index];
		}
	}
	if(TempDevices.Count<DevicesMaxCount)TempDevices.Count++;
	return TempDevices.Device[index];
}

struct DeviceDesc* GetDeviceByID(u32 ID)
{
	u8 index;
	for(index=0;index<Devices.Count;index++)
	{
		if(Devices.Device[index]->ID==ID) return Devices.Device[index];
	}
	Devices.Count++;
	return Devices.Device[index];
}
void UnZipPackage(struct TempDevice* device)
{
	u8  NamePos,DescStrPos;
	u16 length;
	u8  ChannelsCount;
	u8  ChannelNumber=0;
	u16 ChannelSize;
	u8  ChannelType;
	u8  ChannelNamePos;
	u16 ChannelStartPos;
	u16 pos;
	u16 ChannelNameSize;
	u8  CID;
	u8  *buffer=device->Buffer;
	struct DeviceDesc* new_device=GetDeviceByID(device->ID);

	U8ToU16.Bytes=buffer;
	NamePos=U8ToU16.Value;
	U8ToU16.Bytes=buffer;
	DescStrPos=U8ToU16.Value;
	ChannelsCount=buffer[4];

	new_device->ID=device->ID;
	new_device->size=device->Size;
	new_device->ChannelCount=ChannelsCount;
	new_device->Channels=(void*) malloc(ChannelsCount);

	  pos=5;
		ChannelStartPos=pos;
	while(ChannelsCount-- > 0)
	{

	   ChannelStartPos=pos;
		if(buffer[pos++]==UWB_FirstMarker && buffer[pos++]==UWB_ChannelMarker)
		{
			U8ToU16.Bytes=&buffer[pos++];
			ChannelSize=U8ToU16.Value;
			pos++;
			CID=buffer[pos++];
			ChannelType=buffer[pos++];
			if((ChannelType & UWB_Type_DimMask )==UWB_Type_8bit)
			{
				new_device->Channels[ChannelNumber]=malloc(sizeof(struct DeviceChannelU8));
				((struct DeviceChannelU8*)new_device->Channels[ChannelNumber])->CID=CID;
				((struct DeviceChannelU8*)new_device->Channels[ChannelNumber])->Type=ChannelType;
				((struct DeviceChannelU8*)new_device->Channels[ChannelNumber])->Min=buffer[pos++];
				((struct DeviceChannelU8*)new_device->Channels[ChannelNumber])->Max=buffer[pos++];
				((struct DeviceChannelU8*)new_device->Channels[ChannelNumber])->Value=buffer[pos++];

			}
			else if((ChannelType & UWB_Type_DimMask )==UWB_Type_16bit)
			{
				new_device->Channels[ChannelNumber]=malloc(sizeof(struct DeviceChannelU16));
				((struct DeviceChannelU8*)new_device->Channels[ChannelNumber])->CID=CID;
				((struct DeviceChannelU8*)new_device->Channels[ChannelNumber])->Type=ChannelType;
				 U8ToU16.Bytes=&buffer[pos++];
				 pos++;
        ((struct DeviceChannelU8*)new_device->Channels[ChannelNumber])->Min=U8ToU16.Value;
				 U8ToU16.Bytes=&buffer[pos++];
				 pos++;
				((struct DeviceChannelU8*)new_device->Channels[ChannelNumber])->Max=U8ToU16.Value;
				 U8ToU16.Bytes=&buffer[pos++];
				 pos++;
				((struct DeviceChannelU8*)new_device->Channels[ChannelNumber])->Value=U8ToU16.Value;

			}
			else if((ChannelType & UWB_Type_DimMask )==UWB_Type_32bit)
			{
				new_device->Channels[ChannelNumber]=malloc(sizeof(struct DeviceChannelU32));
				((struct DeviceChannelU8*)new_device->Channels[ChannelNumber])->CID=CID;
				((struct DeviceChannelU8*)new_device->Channels[ChannelNumber])->Type=ChannelType;
				 U8ToU32.Bytes=&buffer[pos];
				 pos+=4;
        ((struct DeviceChannelU8*)new_device->Channels[ChannelNumber])->Min=U8ToU32.Value;
				 U8ToU32.Bytes=&buffer[pos];
				 pos+=4;
				((struct DeviceChannelU8*)new_device->Channels[ChannelNumber])->Max=U8ToU32.Value;
				 U8ToU32.Bytes=&buffer[pos];
				 pos+=4;
				((struct DeviceChannelU8*)new_device->Channels[ChannelNumber])->Value=U8ToU32.Value;

			}
			else if((ChannelType & UWB_Type_DimMask )==UWB_Type_F)
			{
				new_device->Channels[ChannelNumber]=malloc(sizeof(struct DeviceChannelU32));
				((struct DeviceChannelU8*)new_device->Channels[ChannelNumber])->CID=CID;
				((struct DeviceChannelU8*)new_device->Channels[ChannelNumber])->Type=ChannelType;
				 U8ToF.Bytes=&buffer[pos];
				 pos+=4;
        ((struct DeviceChannelU8*)new_device->Channels[ChannelNumber])->Min=U8ToF.Value;
				 U8ToF.Bytes=&buffer[pos];
				 pos+=4;
				((struct DeviceChannelU8*)new_device->Channels[ChannelNumber])->Max=U8ToF.Value;
				 U8ToF.Bytes=&buffer[pos];
				 pos+=4;
				((struct DeviceChannelU8*)new_device->Channels[ChannelNumber])->Value=U8ToF.Value;

			}
		 ChannelNameSize=device->Size+2-(pos-ChannelStartPos);

		  ((struct DeviceChannelU8*)new_device->Channels[ChannelNumber])->Name= malloc(ChannelNameSize);
		  ChannelNamePos=0;
     do
		 {
			 ((struct DeviceChannelU8*)new_device->Channels[ChannelNumber])->Name[ChannelNamePos++]=buffer[pos];

		 }while(buffer[pos++]!=0);

		}
		else return ;
	}
	pos=NamePos;
	NamePos=0;
	length=strlen((const char*)&buffer[pos]);
	new_device->Name=malloc(length);
	do{
		new_device->Name[NamePos++]=buffer[pos];
	}while(buffer[pos++]!=0);

	pos=DescStrPos;
	DescStrPos=0;
	length=strlen((const char*)&buffer[pos]);
	new_device->DescStr=malloc(length);
	do{
		new_device->DescStr[DescStrPos++]=buffer[pos];
	}while(buffer[pos++]!=0);

}
void U8ToStr(u8 data,char *str)
{
	str[0]='0'+data/100;
	data%=100;
	str[1]='0'+data/10;
	str[2]='0'+data%10;
	if(str[0]=='0')
	{
		str[0]=' ';
		if(str[1]=='0') str[1]=' ';
	}
}
void U8ToHEX(u8 data,char *str)
{
	str[0]=data/16;
	str[1]=data%16;
	if(str[0]<10)str[0]+='0';
	else str[0]='A'-10+str[0];
	if(str[1]<10)str[1]+='0';
	else str[1]='A'-10+str[1];
}
void U16ToHEX(u16 data,char *str)
{
	char temp[2];
	u8 bytes[4];
	U16ToU8.Value=data;
	U8ToHEX(U16ToU8.Bytes[1],temp);
	str[0]=temp[0];
	str[1]=temp[1];
	U8ToHEX(U16ToU8.Bytes[0],temp);
	str[2]=temp[0];
	str[3]=temp[1];
}
void U32ToHEX(u32 data,char *str)
{
	char temp[2];
	u8 bytes[4];
	U32ToU8.Value=data;
  U8ToHEX(U32ToU8.Bytes[3],temp);
	str[0]=temp[0];
	str[1]=temp[1];
	U8ToHEX(U32ToU8.Bytes[2],temp);
	str[2]=temp[0];
	str[3]=temp[1];
	U8ToHEX(U32ToU8.Bytes[1],temp);
	str[4]=temp[0];
	str[5]=temp[1];
	U8ToHEX(U32ToU8.Bytes[0],temp);
	str[6]=temp[0];
	str[7]=temp[1];
}
int8_t GetKey(u32 dev_ID,u8 CID)
{
	u8 key;
	if(dev_ID==0) return -1;
	for(key=1;key<13;key++)
	{
		if(Keys[key].DevID==dev_ID && Keys[key].CID==CID)
		{
			return key;
		}
	}
	return -1;
}
int8_t SetKey(u32 dev_ID,u8 CID,u8 key)
{
	int8_t old_key;
	old_key=GetKey(dev_ID,CID);
	if(old_key!=-1)
	{
		Keys[old_key].CID=0;
		Keys[old_key].DevID=0;
	}
	if((key>0 && key<10) || key==11)
	{
		Keys[key].DevID=dev_ID;
		Keys[key].CID=CID;
		return key;
	}

	else return -1;
}
/* USER CODE END 4 */

void Error_Handler(void)
{
  while(1)
  {
  }
}

/************************ (C) COPYRIGHT STMicroelectronics *****END OF FILE****/
